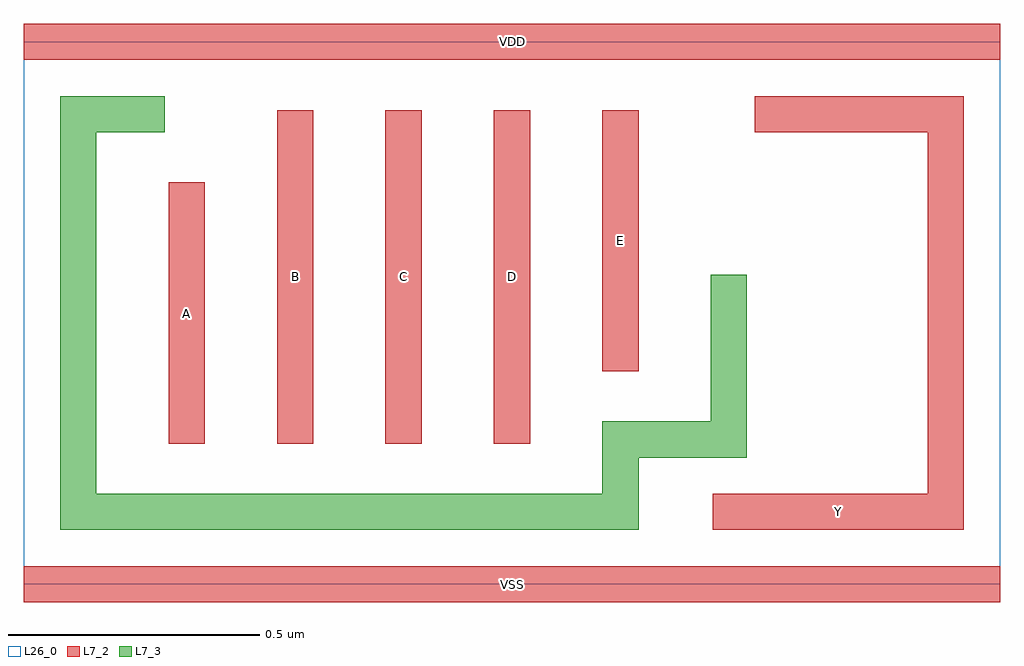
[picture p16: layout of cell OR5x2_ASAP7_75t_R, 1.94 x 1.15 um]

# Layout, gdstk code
import gdstk
lib = gdstk.Library(unit=1e-6, precision=1e-09)
def R(c, l, rs):  # rectangles x0, y0, x1, y1
    for r in rs: c.add(gdstk.rectangle(r[:2], r[2:], *l))
def A(c, l, x, y, w, h, nx, ny, dx, dy):  # array of equal rectangles
    R(c, l, [(x+i*dx, y+j*dy, x+i*dx+w, y+j*dy+h) for i in range(nx) for j in range(ny)])
L7_2 = (7, 2)
L7_3 = (7, 3)
L26_0 = (26, 0)

or5x2_asap7_75t_r = lib.new_cell('OR5x2_ASAP7_75t_R')
A(or5x2_asap7_75t_r, L7_2, 0.504, 0.28, 0.072, 0.664, 3, 1, 0.216, 0)
R(or5x2_asap7_75t_r, L7_2, [(0,-0.036,1.944,0.036), (1.372,0.108,1.872,0.18), (1.8,0.108,1.872,0.972), (0.288,0.28,0.36,0.8), (1.152,0.424,1.224,0.944), (1.456,0.9,1.872,0.972), (0,1.044,1.944,1.116)])
R(or5x2_asap7_75t_r, L7_3, [(0.072,0.108,0.144,0.972), (0.072,0.108,1.224,0.18), (1.152,0.108,1.224,0.324), (1.152,0.252,1.44,0.324), (1.368,0.252,1.44,0.616), (0.072,0.9,0.28,0.972)])
R(or5x2_asap7_75t_r, L26_0, [(0,0,1.944,1.08)])
or5x2_asap7_75t_r.add(gdstk.Label('A', (0.324,0.54), layer=7, texttype=1))
or5x2_asap7_75t_r.add(gdstk.Label('B', (0.54,0.612), layer=7, texttype=1))
or5x2_asap7_75t_r.add(gdstk.Label('C', (0.756,0.612), layer=7, texttype=1))
or5x2_asap7_75t_r.add(gdstk.Label('D', (0.972,0.612), layer=7, texttype=1))
or5x2_asap7_75t_r.add(gdstk.Label('E', (1.188,0.684), layer=7, texttype=1))
or5x2_asap7_75t_r.add(gdstk.Label('VDD', (0.972,1.08), layer=7, texttype=1))
or5x2_asap7_75t_r.add(gdstk.Label('VSS', (0.972,0), layer=7, texttype=1))
or5x2_asap7_75t_r.add(gdstk.Label('Y', (1.622,0.144), layer=7, texttype=1))

lib.write_gds('OR5x2_ASAP7_75t_R.gds')
